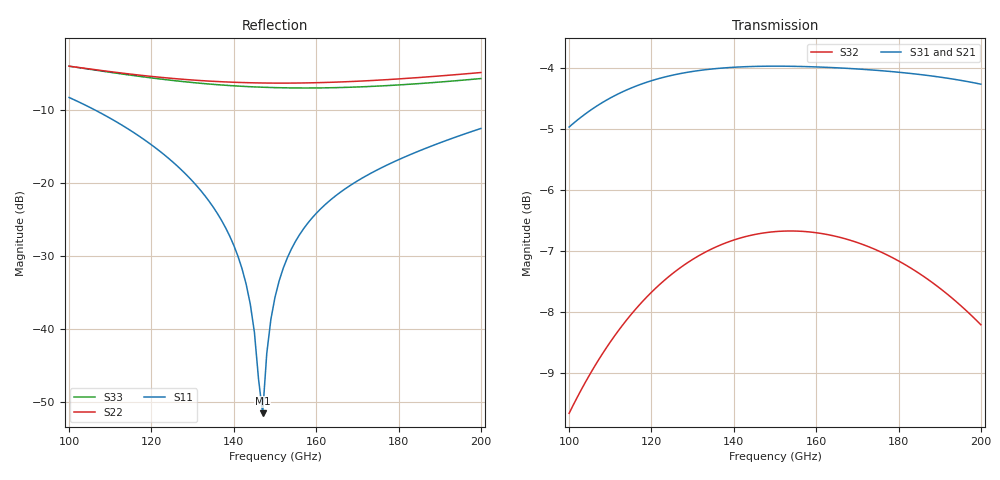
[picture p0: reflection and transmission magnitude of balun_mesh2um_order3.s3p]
! Created with skrf 2.1.0 (http://scikit-rf.org).
# GHz S DB R 50.0
! Port[1] = P1
! Port[2] = P2
! Port[3] = P3
!freq dBS11 angS11 dBS12 angS12 dBS13 angS13
! dBS21 angS21 dBS22 angS22 dBS23 angS23
! dBS31 angS31 dBS32 angS32 dBS33 angS33
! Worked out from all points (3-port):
!   101 points, 100 GHz to 200 GHz, reference 50 ohm
!   strongest paths, dB at 100 GHz, 125 GHz, 150 GHz, 175 GHz, 200 GHz:
!     S31: -5.0, -4.1, -4.0, -4.0, -4.3
!     S21: -4.7, -4.0, -4.0, -4.2, -4.7
!     S32: -9.7, -7.4, -6.7, -7.0, -8.2
!   lowest |S11| = -51.5 dB at 147 GHz (marker M1), VSWR 1.01, Z = 49.7 - j0.0815 ohm
!   |S11| at or under -10 dB: 106.3 GHz to end of sweep
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100  -8.27 129.8  -4.73 -10.6  -4.96 165.7
     -4.73 -10.6  -3.98 60.1  -9.67 91.0
     -4.96 165.7  -9.67 91.0  -3.98 50.3
122  -15.62 101.3  -4.05 -43.8  -4.16 130.6
     -4.05 -43.8  -5.49 40.9  -7.55 58.4
     -4.16 130.6  -7.55 58.4  -5.72 28.0
136  -24.15 89.1  -3.96 -62.8  -4.00 110.5
     -3.96 -62.8  -6.08 30.6  -6.92 39.5
     -4.00 110.5  -6.92 39.5  -6.51 16.5
143  -33.86 88.1  -3.96 -71.8  -3.97 101.0
     -3.96 -71.8  -6.23 25.7  -6.76 30.5
     -3.97 101.0  -6.76 30.5  -6.76 11.1
147  -51.54 -162.0  -3.97 -76.8  -3.96 95.7
     -3.97 -76.8  -6.28 22.8  -6.71 25.5
     -3.96 95.7  -6.71 25.5  -6.86 8.1
148  -43.33 -121.7  -3.98 -78.0  -3.96 94.4
     -3.98 -78.0  -6.29 22.1  -6.70 24.2
     -3.96 94.4  -6.70 24.2  -6.88 7.4
150  -35.63 -111.1  -3.99 -80.5  -3.96 91.8
     -3.99 -80.5  -6.30 20.7  -6.68 21.8
     -3.96 91.8  -6.68 21.8  -6.91 5.9
155  -27.96 -109.3  -4.02 -86.6  -3.97 85.3
     -4.02 -86.6  -6.29 17.1  -6.67 15.6
     -3.97 85.3  -6.67 15.6  -6.96 2.1
164  -22.06 -112.3  -4.09 -97.4  -3.99 73.9
     -4.09 -97.4  -6.18 10.3  -6.75 4.8
     -3.99 73.9  -6.75 4.8  -6.93 -4.7
200  -12.51 -130.7  -4.65 -140.6  -4.26 28.5
     -4.65 -140.6  -4.85 -20.4  -8.21 -37.3
     -4.26 28.5  -8.21 -37.3  -5.67 -34.7
